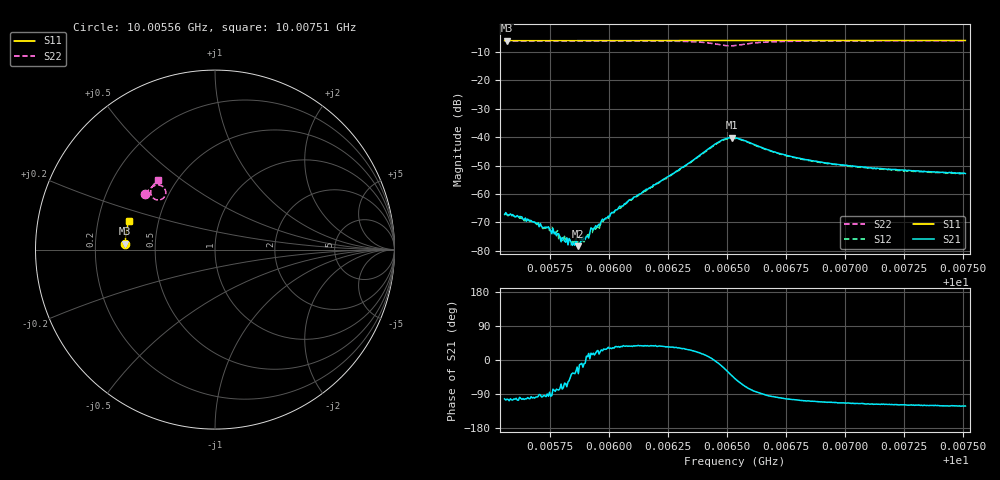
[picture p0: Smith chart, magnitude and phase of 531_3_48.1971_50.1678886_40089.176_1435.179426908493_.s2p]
#  HZ  S  RI  R  50.00
! Rohde & Schwarz Vector Network Analyzer
! Rohde-Schwarz,ZNB20-2Port,1311601062101988,3.16
! Created: UTC 3/20/2024, 11:59:53 AM
! freq[Hz]  re:S11  im:S11  re:S21  im:S21  re:S12  im:S12  re:S22  im:S22
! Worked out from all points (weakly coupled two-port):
!   401 points, 10.00556 GHz to 10.00751 GHz, reference 50 ohm
!   highest |S21| = -40.18 dB at 10.00652 GHz (marker M1); lowest = -78.4 dB at 10.00587 GHz (marker M2)
!   lowest |S11| = -6.0 dB at 10.00557 GHz (marker M3), VSWR 3.01, Z = 16.6 + j1.49 ohm
!   |S11| at or under -10 dB: nowhere
!   |S22| runs from -7.8 to -6.0 dB; largest |S21 - S12| = 0.00062
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1.0005558e10  -0.5002 0.0329  -9.45e-05 -0.000424  -0.000111 -0.000417  -0.3884 0.3097
1.0005567e10  -0.5001 0.0335  -0.000101 -0.000425  -8.01e-05 -0.000421  -0.3878 0.3104
1.0005621e10  -0.5 0.0371  -5.86e-05 -0.000396  -5.35e-05 -0.000372  -0.3855 0.3134
1.000569e10  -0.4999 0.0413  -4.29e-05 -0.000302  -1.72e-05 -0.000303  -0.3822 0.3175
1.0005724e10  -0.4997 0.0436  -1.36e-05 -0.000255  -6.32e-06 -0.000247  -0.3806 0.3196
1.0005748e10  -0.4997 0.0452  2.06e-05 -0.000241  3.26e-05 -0.000224  -0.3793 0.3213
1.0005797e10  -0.4994 0.0482  6.43e-05 -0.000128  3.15e-05 -0.000163  -0.3771 0.3242
1.0005807e10  -0.4994 0.0491  4.76e-05 -0.000155  4.94e-05 -0.00016  -0.3765 0.3248
1.0005831e10  -0.4993 0.0507  9.46e-05 -0.000133  8.32e-05 -0.000111  -0.3753 0.3264
1.000587e10  -0.4991 0.0532  9.72e-05 -7.06e-05  0.000151 -5.59e-05  -0.3729 0.3289
1.0005885e10  -0.499 0.0541  0.000165 -2.57e-05  0.000137 -4.27e-05  -0.3722 0.3297
1.0005909e10  -0.4989 0.0557  0.000177 2.71e-05  0.000188 3.25e-05  -0.3706 0.3313
1.0005934e10  -0.4987 0.0573  0.000222 7.24e-05  0.000234 4.72e-05  -0.3693 0.3329
1.0006036e10  -0.4981 0.064  0.000437 0.000302  0.000433 0.000322  -0.3625 0.3399
1.0006212e10  -0.4969 0.0755  0.00128 0.000969  0.00122 0.000986  -0.3457 0.3526
1.0006461e10  -0.494 0.0914  0.008 -0.00103  0.00786 -0.000546  -0.2764 0.3311
1.000652e10  -0.4934 0.0945  0.00744 -0.00637  0.00762 -0.00581  -0.2908 0.2844
1.0006535e10  -0.4934 0.0953  0.00633 -0.00735  0.00662 -0.00682  -0.3025 0.2783
1.0006716e10  -0.492 0.1069  -0.000797 -0.0052  -0.000556 -0.0052  -0.3582 0.3227
1.0006862e10  -0.4901 0.1163  -0.00123 -0.00364  -0.00107 -0.00362  -0.3518 0.3454
1.000719e10  -0.4856 0.137  -0.00124 -0.00242  -0.00112 -0.00244  -0.3339 0.3712
1.0007512e10  -0.4803 0.1571  -0.00119 -0.00195  -0.00112 -0.00194  -0.3168 0.389
